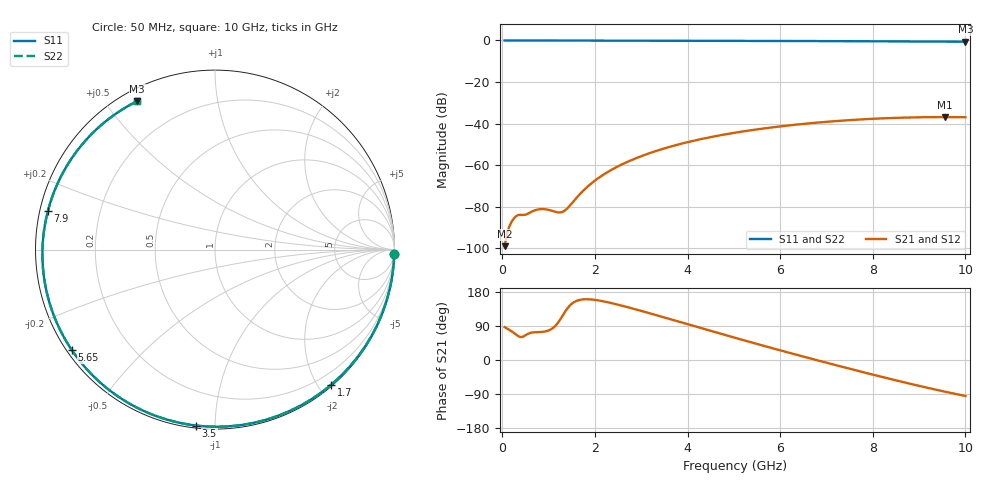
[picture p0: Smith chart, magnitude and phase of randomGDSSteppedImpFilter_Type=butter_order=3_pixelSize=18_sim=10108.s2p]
! freq	dB(S11)	phase(S11)	dB(S12)	phase(S12)
!  dB(S21)	phase(S21)	dB(S22)	phase(S22)
!S-par simulation data
#  GHz  S  DB  R 50
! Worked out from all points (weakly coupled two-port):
!   200 points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, 50 MHz to 10 GHz, reference 50 ohm
!   highest |S21| = -36.89 dB at 9.55 GHz (marker M1); lowest = -99.0 dB at 50 MHz (marker M2)
!   lowest |S11| = -0.6 dB at 10 GHz (marker M3), VSWR 29.17, Z = 2.34 + j30.2 ohm
!   |S11| at or under -10 dB: nowhere
!   |S22| runs from -0.6 to 0.0 dB; largest |S21 - S12| = 0
!   S11 on the Smith chart (normalised r, x): 50 MHz: 1, -79; 1.7 GHz: 0.02, -2.18; 3.5 GHz: 0.01, -0.90; 5.65 GHz: 0.01, -0.32; 7.9 GHz: 0.02, +0.11; 10 GHz: 0.05, +0.60
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0.05  -0.00 -1.4  -99.00 86.7  -99.00 86.7  -0.00 -1.5
0.7  -0.03 -20.7  -81.77 73.2  -81.77 73.2  -0.03 -20.7
1.4  -0.05 -40.9  -80.89 135.3  -80.89 135.3  -0.05 -40.9
1.45  -0.05 -42.3  -79.70 142.7  -79.70 142.7  -0.05 -42.3
1.7  -0.06 -49.3  -73.37 159.3  -73.37 159.3  -0.06 -49.3
1.75  -0.06 -50.7  -72.25 160.0  -72.25 160.0  -0.06 -50.7
2.05  -0.07 -58.9  -66.62 157.8  -66.62 157.8  -0.07 -58.9
2.45  -0.09 -69.6  -61.15 147.5  -61.15 147.5  -0.09 -69.6
2.9  -0.10 -81.2  -56.56 133.0  -56.56 133.0  -0.10 -81.3
3.4  -0.12 -93.7  -52.63 115.7  -52.63 115.7  -0.12 -93.7
3.5  -0.12 -96.1  -51.95 112.2  -51.95 112.2  -0.12 -96.2
4.25  -0.15 -113.8  -47.67 85.7  -47.67 85.7  -0.15 -113.9
5.05  -0.19 -131.8  -44.30 57.7  -44.30 57.7  -0.19 -131.8
5.65  -0.22 -144.8  -42.34 37.2  -42.34 37.2  -0.22 -144.9
6.2  -0.26 -156.6  -40.86 18.9  -40.86 18.9  -0.26 -156.6
6.7  -0.30 -167.2  -39.74 2.5  -39.74 2.5  -0.30 -167.3
7.3  -0.34 179.9  -38.64 -16.7  -38.64 -16.7  -0.34 179.9
7.9  -0.39 166.9  -37.81 -35.5  -37.81 -35.5  -0.39 166.9
8.35  -0.44 156.9  -37.37 -49.2  -37.37 -49.2  -0.44 156.9
8.95  -0.49 143.2  -37.00 -66.8  -37.00 -66.8  -0.49 143.1
9.55  -0.55 128.9  -36.89 -83.4  -36.89 -83.4  -0.55 128.8
10  -0.60 117.7  -36.95 -94.9  -36.95 -94.9  -0.60 117.6
